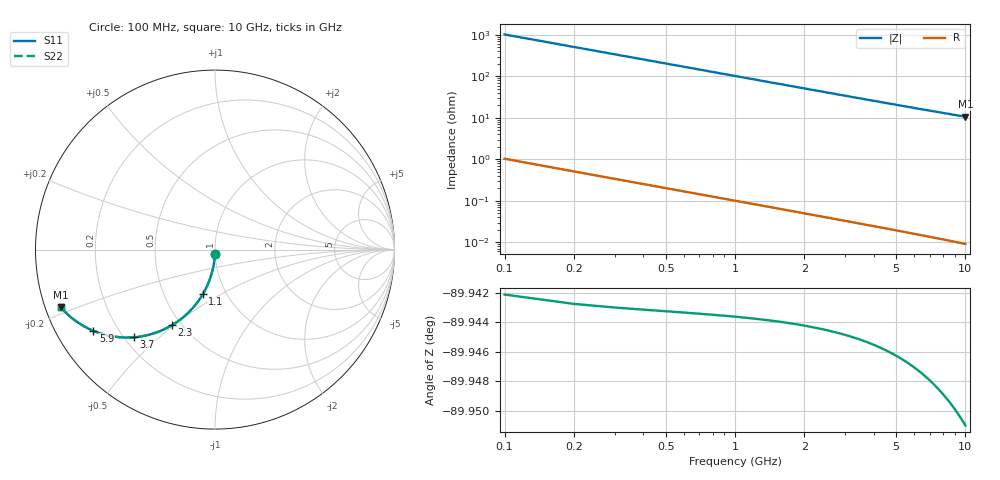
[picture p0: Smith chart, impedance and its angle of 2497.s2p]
# Hz S RI R 50.00
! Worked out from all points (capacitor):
!   100 points, 100 MHz to 10 GHz, reference 50 ohm
!   read as one part in shunt: C = 1.56 pF near 100 MHz
!   lowest |Z| = 10.7 ohm at 10 GHz (marker M1)
!   S11 on the Smith chart (normalised r, x): 100 MHz: 1.00, -0.05; 1.1 GHz: 0.78, -0.41; 2.3 GHz: 0.45, -0.49; 3.7 GHz: 0.24, -0.42; 5.9 GHz: 0.11, -0.30; 10 GHz: 0.04, -0.18
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1e8  -0.000572 -0.0242  0.9993 -0.0247  0.9993 -0.0247  -0.000572 -0.0242
2e8  -0.00238 -0.0483  0.9975 -0.0492  0.9975 -0.0492  -0.00238 -0.0483
3e8  -0.00537 -0.0722  0.9945 -0.0736  0.9945 -0.0736  -0.00537 -0.0722
4e8  -0.00952 -0.0959  0.9904 -0.0978  0.9904 -0.0978  -0.00952 -0.0959
5e8  -0.0148 -0.1192  0.9851 -0.1216  0.9851 -0.1216  -0.0148 -0.1192
6e8  -0.0212 -0.1422  0.9787 -0.145  0.9787 -0.145  -0.0212 -0.1422
7e8  -0.0286 -0.1646  0.9713 -0.1679  0.9713 -0.1679  -0.0286 -0.1646
9e8  -0.0463 -0.2077  0.9536 -0.2119  0.9536 -0.2119  -0.0463 -0.2077
1.1e9  -0.0676 -0.2481  0.9323 -0.2533  0.9323 -0.2533  -0.0676 -0.2481
1.4e9  -0.1051 -0.303  0.8948 -0.3096  0.8948 -0.3096  -0.1051 -0.303
1.8e9  -0.1625 -0.3643  0.8373 -0.3728  0.8373 -0.3728  -0.1625 -0.3643
2.3e9  -0.2406 -0.4216  0.7592 -0.4325  0.7592 -0.4325  -0.2406 -0.4216
2.8e9  -0.3196 -0.4592  0.6802 -0.4725  0.6802 -0.4725  -0.3196 -0.4592
3.4e9  -0.4094 -0.4831  0.5903 -0.4994  0.5903 -0.4994  -0.4094 -0.4831
3.7e9  -0.451 -0.4883  0.5488 -0.5059  0.5488 -0.5059  -0.451 -0.4883
4.4e9  -0.5377 -0.4875  0.462 -0.5086  0.462 -0.5086  -0.5377 -0.4875
5.1e9  -0.6102 -0.4749  0.3894 -0.4995  0.3894 -0.4995  -0.6102 -0.4749
5.9e9  -0.6774 -0.4526  0.3221 -0.4812  0.3221 -0.4812  -0.6774 -0.4526
6.7e9  -0.7308 -0.4265  0.2686 -0.4592  0.2686 -0.4592  -0.7308 -0.4265
7.5e9  -0.7733 -0.3995  0.2259 -0.4363  0.2259 -0.4363  -0.7733 -0.3995
8.4e9  -0.8112 -0.3697  0.1878 -0.4112  0.1878 -0.4112  -0.8112 -0.3697
1e10  -0.8598 -0.3209  0.1388 -0.3709  0.1388 -0.3709  -0.8598 -0.3209
